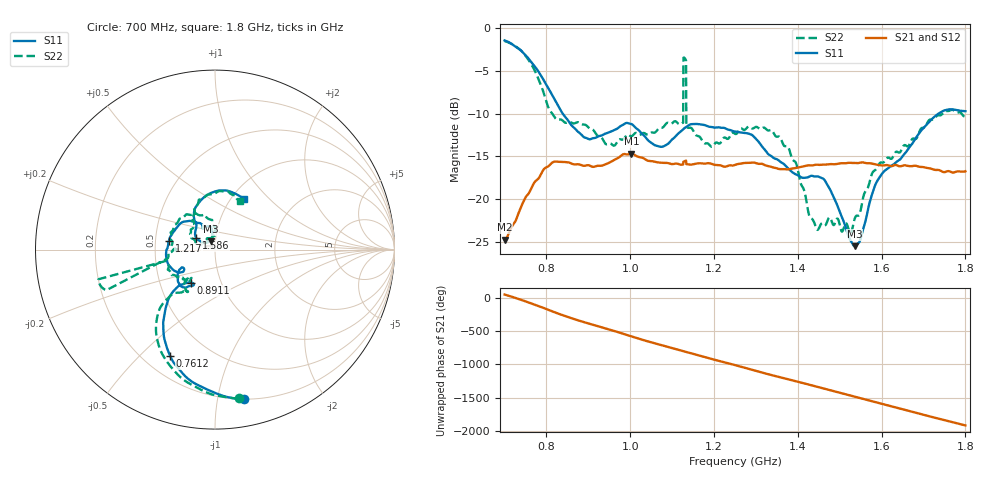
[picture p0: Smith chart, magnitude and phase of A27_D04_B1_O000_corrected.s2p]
! Created with skrf 1.9.0 (http://scikit-rf.org).
# Hz S RI R 50.0
!freq ReS11 ImS11 ReS21 ImS21 ReS12 ImS12 ReS22 ImS22
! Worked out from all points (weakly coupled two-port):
!   1601 points, 700 MHz to 1.8 GHz, reference 50 ohm
!   highest |S21| = -14.69 dB at 1.002 GHz (marker M1); lowest = -24.7 dB at 700 MHz (marker M2)
!   lowest |S11| = -25.5 dB at 1.535 GHz (marker M3), VSWR 1.11, Z = 47.4 + j4.48 ohm
!   |S11| at or under -10 dB: 838.6 MHz to 1.736 GHz (897.4 MHz wide, 69.7 % of centre)
!   |S22| runs from -24.1 to -1.5 dB; largest |S21 - S12| = 0.0033
!   S11 on the Smith chart (normalised r, x): 700 MHz: 0.20, -1.19; 761.2 MHz: 0.31, -0.62; 891.1 MHz: 0.72, -0.28; 1.217 GHz: 0.59, +0.06; 1.586 GHz: 0.80, +0.11; 1.8 GHz: 1.14, +0.72
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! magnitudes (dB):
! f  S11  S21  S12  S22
! 700 MHz  -1.4  -24.7  -24.5  -1.5
! 761.2 MHz  -3.8  -19.0  -18.9  -4.0
! 819.6 MHz  -8.4  -15.6  -15.7  -10.4
! 883.6 MHz  -12.5  -16.0  -15.9  -11.2
! 891.1 MHz  -12.8  -16.1  -16.1  -11.3
! 1.002 GHz  -11.2  -14.7  -14.8  -12.7
! 1.067 GHz  -13.8  -15.7  -15.7  -11.8
! 1.121 GHz  -12.1  -16.0  -15.9  -11.2
! 1.128 GHz  -11.8  -15.6  -15.7  -3.5
! 1.132 GHz  -11.6  -15.5  -15.6  -3.7
! 1.139 GHz  -11.4  -15.9  -15.9  -11.7
! 1.217 GHz  -11.7  -16.1  -16.1  -13.3
! 1.25 GHz  -12.1  -16.0  -15.9  -12.4
! 1.357 GHz  -15.6  -16.5  -16.4  -12.8
! 1.396 GHz  -17.1  -16.4  -16.3  -15.8
! 1.434 GHz  -17.3  -16.1  -16.0  -22.3
! 1.468 GHz  -18.1  -16.0  -15.9  -22.9
! 1.535 GHz  -25.5  -15.8  -15.8  -22.4
! 1.586 GHz  -18.2  -16.0  -15.9  -16.5
! 1.617 GHz  -16.3  -16.1  -16.0  -15.2
! 1.732 GHz  -10.1  -16.6  -16.6  -10.3
! 1.8 GHz  -9.7  -16.8  -16.8  -10.3
